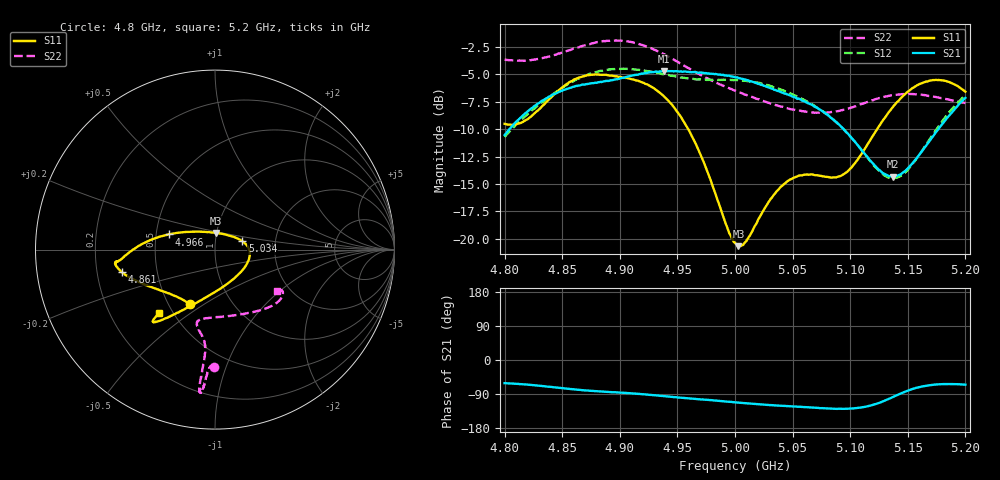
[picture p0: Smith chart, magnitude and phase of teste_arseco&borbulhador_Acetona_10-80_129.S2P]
! Network Analyzer HP8722D
! Hewlett-Packard
! Data name: Linha & Wilkinson
! Saver's name: Rodrigo Anjos
! Comments: Teste da utilização de aquisição
! continua pelo VNA HP8722D
! Time and date: 17/4/2025 15:26
!  Frequency  S11  S21  S12  S22
# HZ  S  MA R 50
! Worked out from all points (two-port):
!   401 points, 4.8 GHz to 5.2 GHz, reference 50 ohm
!   highest |S21| = -4.70 dB at 4.938 GHz (marker M1); lowest = -14.3 dB at 5.137 GHz (marker M2)
!   |S21| within 3 dB of the highest: 4.828 GHz to 5.065 GHz (236.6 MHz wide, 4.78 % of centre); 5.194663 GHz to end of sweep
!   lowest |S11| = -20.7 dB at 5.003 GHz (marker M3), VSWR 1.20, Z = 49.9 + j9.29 ohm
!   |S11| at or under -10 dB: 4.959 GHz to 5.123 GHz (163.8 MHz wide, 3.25 % of centre)
!   |S22| runs from -8.5 to -1.9 dB; largest |S21 - S12| = 0.87
!   S11 on the Smith chart (normalised r, x): 4.8 GHz: 0.64, -0.44; 4.861 GHz: 0.31, -0.11; 4.966 GHz: 0.58, +0.11; 5.034 GHz: 1.35, +0.13; 5.2 GHz: 0.42, -0.38
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4.8e9  0.3346 -114.4  0.2973 -61.1  0.2915 -175.3  0.6568 -90.4
4.819e9  0.3493 -134.5  0.3773 -64.8  0.3662 -174.3  0.6513 -92.1
4.861e9  0.5344 -166.4  0.4952 -77.9  0.5283 -177.7  0.7377 -94.4
4.867e9  0.5488 -168.8  0.5044 -79.4  0.5458 -178.8  0.7565 -94.6
4.899e9  0.5476 -173.1  0.5364 -85.9  0.5963 174.9  0.8013 -96.0
4.934e9  0.4671 -179.0  0.5779 -94.3  0.5716 171.2  0.7121 -96.3
4.938e9  0.4479 179.3  0.5822 -95.2  0.5632 171.2  0.6966 -96.2
4.953e9  0.3602 171.3  0.581 -99.4  0.5438 171.9  0.6297 -95.7
4.966e9  0.2707 161.8  0.5751 -102.6  0.5331 173.2  0.5744 -95.5
5e9  0.09597 96.7  0.5456 -111.7  0.5307 175.6  0.4742 -99.6
5.003e9  0.09267 85.5  0.5415 -112.4  0.5281 175.6  0.4673 -100.3
5.011e9  0.1 57.9  0.5289 -114.7  0.5233 175.3  0.4504 -102.0
5.034e9  0.1596 16.9  0.4782 -119.7  0.4916 174.3  0.4093 -103.6
5.049e9  0.1873 2.1  0.4477 -122.2  0.4581 173.6  0.3899 -99.6
5.067e9  0.1968 -17.0  0.4081 -125.5  0.4111 173.1  0.3767 -90.0
5.086e9  0.1908 -47.4  0.3479 -128.6  0.3469 173.3  0.38 -75.5
5.097e9  0.2015 -69.6  0.3051 -128.5  0.3057 174.6  0.3913 -66.5
5.134e9  0.3808 -118.0  0.1932 -102.0  0.1899 -154.9  0.4492 -43.0
5.137e9  0.3986 -119.8  0.1921 -97.8  0.1888 -150.2  0.4523 -41.8
5.149e9  0.4643 -125.1  0.2072 -81.9  0.204 -131.8  0.4577 -37.2
5.17e9  0.5275 -130.0  0.2844 -66.1  0.2899 -112.2  0.448 -32.3
5.2e9  0.4692 -131.4  0.4394 -65.1  0.4514 -107.2  0.4157 -33.9
